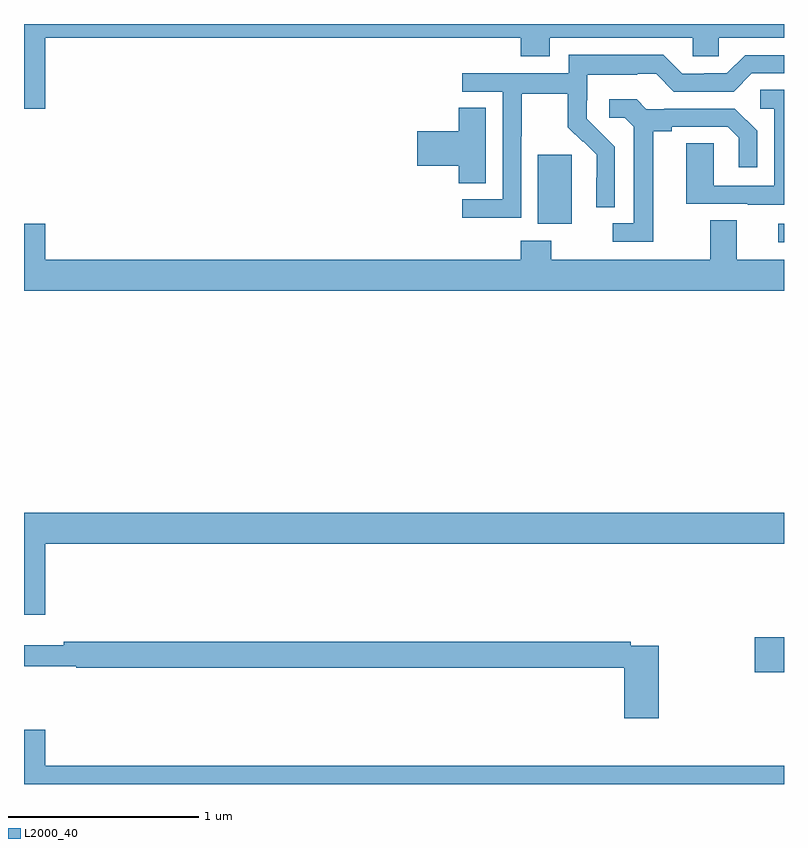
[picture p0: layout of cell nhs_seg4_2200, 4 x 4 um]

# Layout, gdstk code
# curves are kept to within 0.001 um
import gdstk
lib = gdstk.Library(unit=1e-6, precision=1e-09)
def R(c, l, rs):  # rectangles x0, y0, x1, y1
    for r in rs: c.add(gdstk.rectangle(r[:2], r[2:], *l))
def P(c, l, *ps):  # polygons
    for p in ps: c.add(gdstk.Polygon(p, *l))
L2000_40 = (2000, 40)

nhs_seg4_2200 = lib.new_cell('nhs_seg4_2200')
R(nhs_seg4_2200, L2000_40, [(228.846,785.489,229,785.672), (228.969,787.752,229,787.848), (227.705,787.85,227.884,788.211)])
P(nhs_seg4_2200, L2000_40, [(225.112,788.828),(227.615,788.828),(227.615,788.729),(227.767,788.729),(227.767,788.828),(228.519,788.828),(228.519,788.73),(228.657,788.73),(228.657,788.828),(229,788.828),(229,788.9),(225,788.9),(225,788.454),(225.112,788.454)],
  [(227.616,788.308),(227.619,788.308),(227.619,788.532),(227.863,788.532),(227.863,788.357),(227.94,788.28),(227.943,788.283),(228.014,788.213),(228.014,788.09),(228.012,788.09),(228.012,787.936),(228.108,787.936),(228.108,788.254),(227.962,788.402),(227.962,788.499),(227.964,788.499),(227.964,788.633),(228.227,788.633),(228.227,788.637),(228.327,788.637),(228.42,788.544),(228.735,788.544),(228.831,788.64),(229,788.64),(229,788.736),(228.795,788.736),(228.699,788.64),(228.581,788.64),(228.581,788.637),(228.465,788.637),(228.365,788.737),(227.868,788.737),(227.868,788.64),(227.307,788.64),(227.307,788.544),(227.52,788.544),(227.52,787.977),(227.307,787.977),(227.307,787.879),(227.616,787.879)],
  [(229,788.555),(228.876,788.555),(228.876,788.454),(228.948,788.454),(228.948,788.049),(228.63,788.049),(228.63,788.273),(228.485,788.273),(228.485,787.953),(228.809,787.953),(228.809,787.949),(229,787.949)],
  [(228.313,788.336),(228.409,788.336),(228.409,788.358),(228.704,788.358),(228.761,788.301),(228.761,788.145),(228.858,788.145),(228.858,788.338),(228.742,788.454),(228.37,788.454),(228.37,788.451),(228.276,788.451),(228.224,788.503),(228.081,788.503),(228.081,788.406),(228.162,788.406),(228.209,788.359),(228.209,787.851),(228.099,787.851),(228.099,787.755),(228.313,787.755)],
  [(227.431,788.459),(227.288,788.459),(227.288,788.336),(227.07,788.336),(227.07,788.153),(227.288,788.153),(227.288,788.062),(227.431,788.062)],
  [(229,787.66),(228.751,787.66),(228.751,787.868),(228.611,787.868),(228.611,787.66),(227.775,787.66),(227.775,787.759),(227.615,787.759),(227.615,787.66),(225.112,787.66),(225.112,787.849),(225,787.849),(225,787.496),(229,787.496)],
  [(225.112,786.164),(229,786.164),(229,786.328),(225,786.328),(225,785.79),(225.112,785.79)],
  [(228.341,785.628),(228.194,785.628),(228.194,785.648),(225.208,785.648),(225.208,785.629),(225,785.629),(225,785.52),(225.274,785.52),(225.274,785.512),(228.158,785.512),(228.158,785.247),(228.341,785.247)],
  [(229,784.996),(225.112,784.996),(225.112,785.185),(225,785.185),(225,784.9),(229,784.9)])

lib.write_gds('nhs_seg4_2200.gds')
